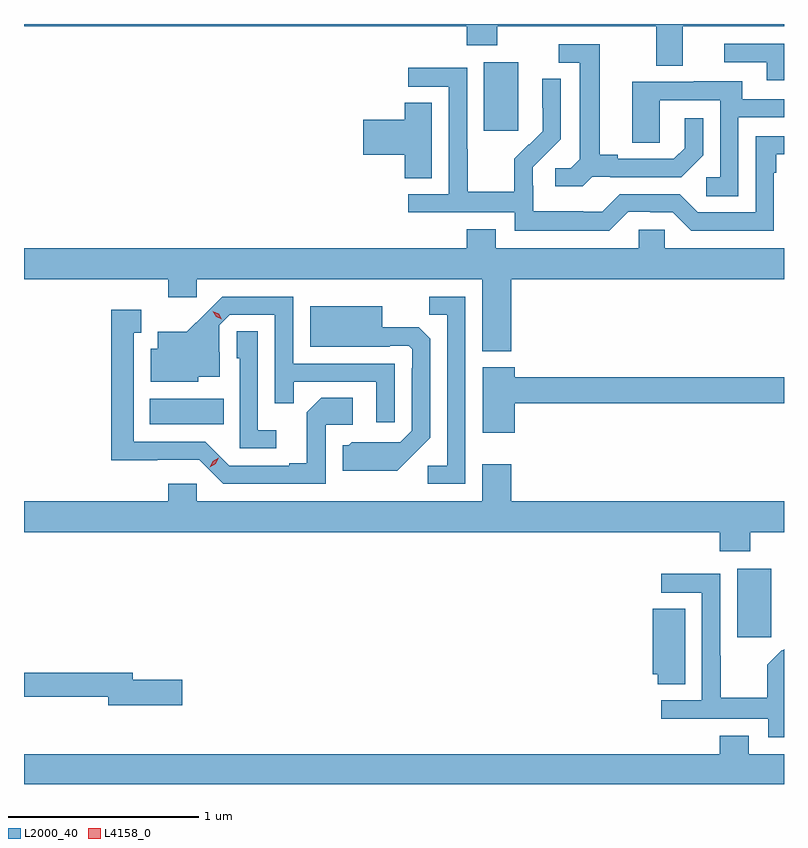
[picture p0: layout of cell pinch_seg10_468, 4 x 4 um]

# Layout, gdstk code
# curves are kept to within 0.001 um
import gdstk
lib = gdstk.Library(unit=1e-6, precision=1e-09)
def R(c, l, rs):  # rectangles x0, y0, x1, y1
    for r in rs: c.add(gdstk.rectangle(r[:2], r[2:], *l))
def P(c, l, *ps):  # polygons
    for p in ps: c.add(gdstk.Polygon(p, *l))
L2000_40 = (2000, 40)
L4158_0 = (4158, 0)

pinch_seg10_468 = lib.new_cell('pinch_seg10_468')
R(pinch_seg10_468, L2000_40, [(390.653,1306.425,390.832,1306.786), (387.563,1307.546,387.95,1307.68), (389.321,1309.089,389.5,1309.45)])
P(pinch_seg10_468, L2000_40, [(390.367,1309.64),(390.9,1309.64),(390.9,1309.652),(386.9,1309.652),(386.9,1309.64),(389.231,1309.64),(389.231,1309.541),(389.391,1309.541),(389.391,1309.64),(390.227,1309.64),(390.227,1309.432),(390.367,1309.432)],
  [(390.9,1309.548),(390.585,1309.548),(390.585,1309.452),(390.809,1309.452),(390.809,1309.356),(390.9,1309.356)],
  [(389.892,1308.849),(389.986,1308.849),(389.986,1308.846),(390.358,1308.846),(390.474,1308.962),(390.474,1309.156),(390.377,1309.156),(390.377,1308.999),(390.32,1308.942),(390.025,1308.942),(390.025,1308.965),(389.929,1308.965),(389.929,1309.545),(389.715,1309.545),(389.715,1309.449),(389.825,1309.449),(389.825,1308.941),(389.778,1308.894),(389.697,1308.894),(389.697,1308.797),(389.84,1308.797)],
  [(390.081,1308.663),(390.197,1308.663),(390.197,1308.66),(390.315,1308.66),(390.411,1308.564),(390.846,1308.564),(390.846,1308.869),(390.859,1308.869),(390.859,1308.966),(390.9,1308.966),(390.9,1309.062),(390.75,1309.062),(390.75,1308.66),(390.447,1308.66),(390.351,1308.756),(390.036,1308.756),(389.943,1308.663),(389.843,1308.663),(389.843,1308.667),(389.58,1308.667),(389.58,1308.801),(389.578,1308.801),(389.578,1308.898),(389.724,1309.046),(389.724,1309.364),(389.628,1309.364),(389.628,1309.21),(389.63,1309.21),(389.63,1309.088),(389.559,1309.017),(389.556,1309.02),(389.479,1308.943),(389.479,1308.769),(389.235,1308.769),(389.235,1308.992),(389.232,1308.992),(389.232,1309.422),(388.923,1309.422),(388.923,1309.323),(389.136,1309.323),(389.136,1308.756),(388.923,1308.756),(388.923,1308.66),(389.484,1308.66),(389.484,1308.563),(389.981,1308.563)],
  [(390.66,1309.161),(390.9,1309.161),(390.9,1309.257),(390.679,1309.257),(390.679,1309.351),(390.425,1309.351),(390.425,1309.347),(390.101,1309.347),(390.101,1309.027),(390.246,1309.027),(390.246,1309.251),(390.564,1309.251),(390.564,1308.846),(390.492,1308.846),(390.492,1308.745),(390.66,1308.745)],
  [(389.047,1309.238),(388.904,1309.238),(388.904,1309.148),(388.686,1309.148),(388.686,1308.965),(388.904,1308.965),(388.904,1308.841),(389.047,1308.841)],
  [(389.465,1308.308),(390.9,1308.308),(390.9,1308.472),(390.273,1308.472),(390.273,1308.57),(390.135,1308.57),(390.135,1308.472),(389.383,1308.472),(389.383,1308.571),(389.231,1308.571),(389.231,1308.472),(386.9,1308.472),(386.9,1308.308),(387.659,1308.308),(387.659,1308.213),(387.81,1308.213),(387.81,1308.308),(389.312,1308.308),(389.312,1307.93),(389.465,1307.93)],
  [(389.223,1308.216),(389.032,1308.216),(389.032,1308.121),(389.127,1308.121),(389.127,1307.328),(389.025,1307.328),(389.025,1307.232),(389.223,1307.232)],
  [(388.851,1307.865),(388.317,1307.865),(388.317,1308.216),(387.944,1308.216),(387.757,1308.031),(387.605,1308.031),(387.605,1307.944),(387.566,1307.944),(387.566,1307.768),(387.816,1307.768),(387.816,1307.795),(387.931,1307.795),(387.931,1307.924),(387.927,1307.924),(387.927,1308.066),(387.984,1308.123),(388.221,1308.123),(388.221,1307.656),(388.319,1307.656),(388.319,1307.769),(388.755,1307.769),(388.755,1307.556),(388.851,1307.556)],
  [(388.945,1307.381),(389.037,1307.474),(389.037,1307.996),(388.978,1308.055),(388.786,1308.055),(388.786,1308.166),(388.406,1308.166),(388.406,1307.954),(388.826,1307.954),(388.826,1307.958),(388.926,1307.958),(388.944,1307.94),(388.944,1307.84),(388.941,1307.84),(388.941,1307.511),(388.881,1307.451),(388.624,1307.452),(388.608,1307.436),(388.577,1307.436),(388.577,1307.3),(388.865,1307.3)],
  [(388.488,1307.544),(388.63,1307.544),(388.63,1307.684),(388.465,1307.684),(388.389,1307.608),(388.389,1307.341),(388.295,1307.341),(388.295,1307.328),(387.981,1307.328),(387.855,1307.454),(387.478,1307.454),(387.478,1308.027),(387.517,1308.027),(387.517,1308.148),(387.36,1308.148),(387.36,1307.357),(387.822,1307.358),(387.948,1307.232),(388.488,1307.232)],
  [(388.228,1307.515),(388.131,1307.515),(388.131,1308.035),(388.02,1308.035),(388.02,1307.892),(388.035,1307.892),(388.035,1307.418),(388.228,1307.418)],
  [(389.482,1307.656),(390.9,1307.656),(390.9,1307.792),(389.482,1307.792),(389.482,1307.845),(389.315,1307.845),(389.315,1307.502),(389.482,1307.502)],
  [(390.723,1306.976),(390.9,1306.976),(390.9,1307.14),(389.465,1307.14),(389.465,1307.335),(389.312,1307.335),(389.312,1307.14),(387.81,1307.14),(387.81,1307.233),(387.659,1307.233),(387.659,1307.14),(386.9,1307.14),(386.9,1306.976),(390.563,1306.976),(390.563,1306.877),(390.723,1306.877)],
  [(390.9,1306.362),(390.891,1306.353),(390.888,1306.356),(390.811,1306.279),(390.811,1306.105),(390.567,1306.105),(390.567,1306.328),(390.564,1306.328),(390.564,1306.758),(390.255,1306.758),(390.255,1306.659),(390.468,1306.659),(390.468,1306.092),(390.255,1306.092),(390.255,1305.996),(390.816,1305.996),(390.816,1305.899),(390.9,1305.899)],
  [(390.379,1306.574),(390.209,1306.574),(390.209,1306.23),(390.236,1306.23),(390.236,1306.177),(390.379,1306.177)],
  [(387.733,1306.202),(387.472,1306.202),(387.472,1306.238),(386.9,1306.238),(386.9,1306.11),(387.344,1306.11),(387.344,1306.067),(387.733,1306.067)],
  [(390.9,1305.808),(390.715,1305.808),(390.715,1305.907),(390.563,1305.907),(390.563,1305.808),(386.9,1305.808),(386.9,1305.652),(390.9,1305.652)])
P(pinch_seg10_468, L4158_0, [(387.942,1308.097),(387.911,1308.112),(387.893,1308.141),(387.893,1308.141),(387.893,1308.141),(387.924,1308.127),(387.942,1308.098),(387.942,1308.097)],
  [(387.877,1307.318),(387.877,1307.318),(387.894,1307.351),(387.925,1307.37),(387.925,1307.37),(387.925,1307.37),(387.908,1307.337),(387.877,1307.318)])

lib.write_gds('pinch_seg10_468.gds')
